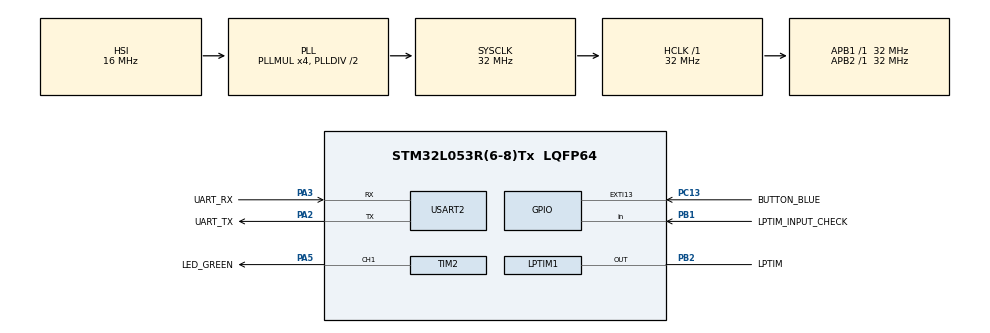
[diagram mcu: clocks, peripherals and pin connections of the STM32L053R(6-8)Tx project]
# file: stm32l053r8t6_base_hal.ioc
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ADC.ContinuousConvMode=ENABLE
ADC.DMAContinuousRequests=ENABLE
ADC.EOCSelection=ADC_EOC_SEQ_CONV
ADC.SamplingTime=ADC_SAMPLETIME_160CYCLES_5
Dma.ADC.0.Direction=DMA_PERIPH_TO_MEMORY
Dma.ADC.0.Instance=DMA1_Channel1
Dma.ADC.0.MemDataAlignment=DMA_MDATAALIGN_HALFWORD
Dma.ADC.0.MemInc=DMA_MINC_ENABLE
Dma.ADC.0.Mode=DMA_CIRCULAR
Dma.ADC.0.PeriphDataAlignment=DMA_PDATAALIGN_HALFWORD
Dma.ADC.0.PeriphInc=DMA_PINC_DISABLE
Dma.ADC.0.Priority=DMA_PRIORITY_LOW
Dma.Request0=ADC
LPTIM1.ClockPrescaler=LPTIM_PRESCALER_DIV128
LPTIM1.TriggerSource=LPTIM_TRIGSOURCE_SOFTWARE
Mcu.Family=STM32L0
Mcu.Name=STM32L053R(6-8)Tx
Mcu.Package=LQFP64
NVIC.DMA1_Channel1_IRQn=true\:0\:0\:false\:false\:true\:false\:true
NVIC.EXTI4_15_IRQn=true\:0\:0\:false\:false\:true\:true\:true
NVIC.LPTIM1_IRQn=true\:0\:0\:false\:false\:true\:true\:true
NVIC.USART2_IRQn=true\:0\:0\:false\:false\:true\:true\:true
PA13.Mode=Serial_Wire
PA13.Signal=SYS_SWDIO
PA14.Mode=Serial_Wire
PA14.Signal=SYS_SWCLK
PA2.GPIO_Label=UART_TX
PA2.Mode=Asynchronous
PA2.Signal=USART2_TX
PA3.GPIO_Label=UART_RX
PA3.Mode=Asynchronous
PA3.Signal=USART2_RX
PA5.GPIO_Label=LED_GREEN
PA5.Signal=S_TIM2_CH1
PB1.GPIO_Label=LPTIM_INPUT_CHECK
PB1.Signal=GPIO_Input
PB2.GPIO_Label=LPTIM
PB2.GPIO_Speed=GPIO_SPEED_FREQ_LOW
PB2.Mode=WaveformGeneration
PB2.Signal=LPTIM1_OUT
PC13.GPIO_Label=BUTTON_BLUE
PC13.GPIO_ModeDefaultEXTI=GPIO_MODE_IT_RISING_FALLING
PC13.Signal=GPXTI13
ProjectManager.HeapSize=0x200
ProjectManager.StackSize=0x400
ProjectManager.TargetToolchain=STM32CubeIDE
RCC.AHBFreq_Value=32000000
RCC.APB1Freq_Value=32000000
RCC.APB1TimFreq_Value=32000000
RCC.APB2Freq_Value=32000000
RCC.APB2TimFreq_Value=32000000
RCC.HCLKFreq_Value=32000000
RCC.HSE_VALUE=8000000
RCC.HSI16_VALUE=16000000
RCC.HSI48_VALUE=48000000
RCC.HSI_VALUE=16000000
RCC.LSE_VALUE=32768
RCC.MSI_VALUE=2097000
RCC.PLLMUL=RCC_PLLMUL_4
RCC.SYSCLKFreq_VALUE=32000000
RCC.SYSCLKSource=RCC_SYSCLKSOURCE_PLLCLK
RCC.VCOOutputFreq_Value=64000000
SH.S_TIM2_CH1.0=TIM2_CH1,PWM Generation1 CH1
TIM2.Channel-PWM\ Generation1\ CH1=TIM_CHANNEL_1
TIM2.Period=100
TIM2.Prescaler=320
USART2.VirtualMode-Asynchronous=VM_ASYNC
VP_ADC_TempSens_Input.Mode=IN-TempSens
VP_ADC_Vref_Input.Mode=IN-Vrefint
VP_LPTIM1_VS_LPTIM_counterModeInternalClock.Mode=Counts__internal_clock_event_00
board=custom

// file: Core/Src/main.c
/* USER CODE BEGIN Header */
/**
  ******************************************************************************
  * @file           : main.c
  * @brief          : Main program body
  ******************************************************************************
  * @attention
  *
  * <h2><center>&copy; Copyright (c) 2022 STMicroelectronics.
  * All rights reserved.</center></h2>
  *
  * This software component is licensed by ST under BSD 3-Clause license,
  * the "License"; You may not use this file except in compliance with the
  * License. You may obtain a copy of the License at:
  *                        opensource.org/licenses/BSD-3-Clause
  *
  ******************************************************************************
  */
/* USER CODE END Header */
#include "main.h"
#include "adc.h"
#include "dma.h"
#include "lptim.h"
#include "tim.h"
#include "usart.h"
#include "gpio.h"

/* USER CODE BEGIN Includes */
#include "shell.h"
#include "led.h"
#include "button.h"
#include "usart.h"
#include "timer.h"
/* USER CODE END Includes */

void SystemClock_Config(void);

/* USER CODE BEGIN 0 */
void main_callback(void);
void main_callback2(void);
void main_callback3(void);

uint8_t main_timer, main_timer2, main_timer3;
/* USER CODE END 0 */

int main(void)
{

  /* MCU Configuration--------------------------------------------------------*/

  /* Reset of all peripherals, Initializes the Flash interface and the Systick. */
  HAL_Init();

  /* Configure the system clock */
  SystemClock_Config();

  /* Initialize all configured peripherals */
  MX_GPIO_Init();
  MX_DMA_Init();
  MX_ADC_Init();
  MX_USART2_UART_Init();
  MX_TIM2_Init();
  MX_LPTIM1_Init();
  /* USER CODE BEGIN 2 */
  timer_init();
  led_init();
  button_init();
  usart_init();

  printf(CRLF SHELL_GREEN "[system] " SHELL_RESET "Module init end");
  printf(CRLF SHELL_GREEN "[version] " SHELL_RESET "SW_VERSION : %s\r\n" PROMPT, SW_VERSION);
  /* USER CODE END 2 */

  /* Infinite loop */
  /* USER CODE BEGIN WHILE */
  timer_create(&main_timer, TIMER_TYPE_REPEAT, 500, main_callback);
  timer_create(&main_timer2, TIMER_TYPE_REPEAT, 333, main_callback2);
  timer_create(&main_timer3, TIMER_TYPE_REPEAT, 777, main_callback3);

  lptim_start();

  while (1)
  {
    GPIO_PinState read_pin = HAL_GPIO_ReadPin(LPTIM_INPUT_CHECK_GPIO_Port, LPTIM_INPUT_CHECK_Pin);

    if(read_pin == GPIO_PIN_SET)
    {
      led_on();
    }
    else if(read_pin == GPIO_PIN_RESET)
    {
      led_off();
    }
    /* USER CODE END WHILE */

  }
}

void SystemClock_Config(void)
{
  RCC_OscInitTypeDef RCC_OscInitStruct = {0};
  RCC_ClkInitTypeDef RCC_ClkInitStruct = {0};
  RCC_PeriphCLKInitTypeDef PeriphClkInit = {0};

  /** Configure the main internal regulator output voltage
  */
  __HAL_PWR_VOLTAGESCALING_CONFIG(PWR_REGULATOR_VOLTAGE_SCALE1);
  /** Initializes the RCC Oscillators according to the specified parameters
  * in the RCC_OscInitTypeDef structure.
  */
  RCC_OscInitStruct.OscillatorType = RCC_OSCILLATORTYPE_HSI;
  RCC_OscInitStruct.HSIState = RCC_HSI_ON;
  RCC_OscInitStruct.HSICalibrationValue = RCC_HSICALIBRATION_DEFAULT;
  RCC_OscInitStruct.PLL.PLLState = RCC_PLL_ON;
  RCC_OscInitStruct.PLL.PLLSource = RCC_PLLSOURCE_HSI;
  RCC_OscInitStruct.PLL.PLLMUL = RCC_PLLMUL_4;
  RCC_OscInitStruct.PLL.PLLDIV = RCC_PLLDIV_2;
  if (HAL_RCC_OscConfig(&RCC_OscInitStruct) != HAL_OK)
  {
    Error_Handler();
  }
  /** Initializes the CPU, AHB and APB buses clocks
  */
  RCC_ClkInitStruct.ClockType = RCC_CLOCKTYPE_HCLK|RCC_CLOCKTYPE_SYSCLK
                              |RCC_CLOCKTYPE_PCLK1|RCC_CLOCKTYPE_PCLK2;
  RCC_ClkInitStruct.SYSCLKSource = RCC_SYSCLKSOURCE_PLLCLK;
  RCC_ClkInitStruct.AHBCLKDivider = RCC_SYSCLK_DIV1;
  RCC_ClkInitStruct.APB1CLKDivider = RCC_HCLK_DIV1;
  RCC_ClkInitStruct.APB2CLKDivider = RCC_HCLK_DIV1;

  if (HAL_RCC_ClockConfig(&RCC_ClkInitStruct, FLASH_LATENCY_1) != HAL_OK)
  {
    Error_Handler();
  }
  PeriphClkInit.PeriphClockSelection = RCC_PERIPHCLK_USART2|RCC_PERIPHCLK_LPTIM1;
  PeriphClkInit.Usart2ClockSelection = RCC_USART2CLKSOURCE_PCLK1;
  PeriphClkInit.LptimClockSelection = RCC_LPTIM1CLKSOURCE_PCLK;

  if (HAL_RCCEx_PeriphCLKConfig(&PeriphClkInit) != HAL_OK)
  {
    Error_Handler();
  }
}

/* USER CODE BEGIN 4 */
void main_timer_start(void)
{
  timer_start(&main_timer);
}

void main_timer_stop(void)
{
  timer_stop(&main_timer);
}

void main_timer_start2(void)
{
  timer_start(&main_timer2);
}

void main_timer_stop2(void)
{
  timer_stop(&main_timer2);
}

void main_timer_start3(void)
{
  timer_start(&main_timer3);
}

void main_timer_stop3(void)
{
  timer_stop(&main_timer3);
}

void main_callback(void)
{
  printf("main callback\r\n");
}

void main_callback2(void)
{
  printf("main callback2\r\n");
}

void main_callback3(void)
{
  printf("main callback3\r\n");
}
/* USER CODE END 4 */

void Error_Handler(void)
{
  /* USER CODE BEGIN Error_Handler_Debug */
  /* User can add his own implementation to report the HAL error return state */
  __disable_irq();
  while (1)
  {
    printf("Error Handler\r\n");
    NVIC_SystemReset();
  }
  /* USER CODE END Error_Handler_Debug */
}

/************************ (C) COPYRIGHT STMicroelectronics *****END OF FILE****/
